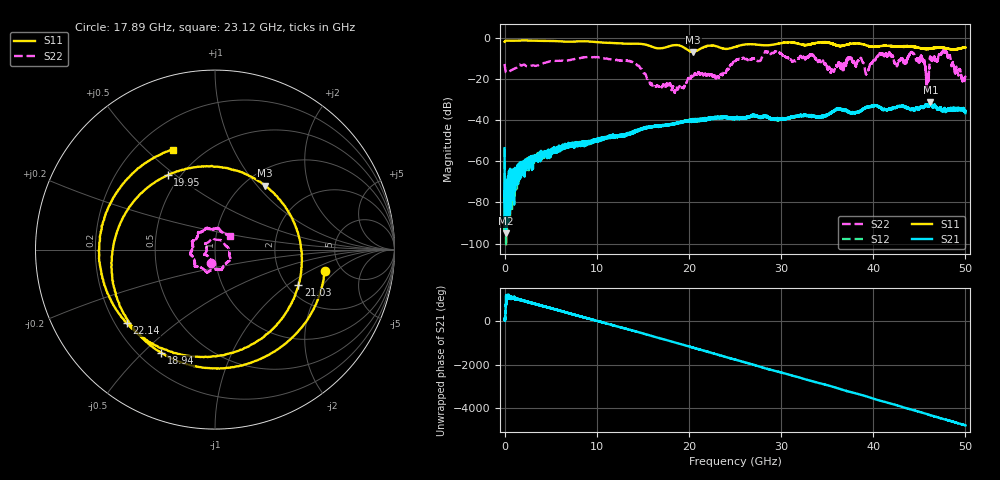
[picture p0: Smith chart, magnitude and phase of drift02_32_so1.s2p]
!Created with skrf (http://scikit-rf.org).
# Hz S RI R 50.0
!freq ReS11 ImS11 ReS21 ImS21 ReS12 ImS12 ReS22 ImS22
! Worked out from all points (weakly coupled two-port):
!   10001 points, 300 kHz to 50 GHz, reference 50 ohm
!   highest |S21| = -31.35 dB at 46.2 GHz (marker M1); lowest = -95.0 dB at 165.3 MHz (marker M2)
!   lowest |S11| = -6.9 dB at 20.45 GHz (marker M3), VSWR 2.64, Z = 61.2 + j54.7 ohm
!   |S11| at or under -10 dB: nowhere
!   |S22| runs from -26.8 to -6.2 dB; largest |S21 - S12| = 0.0034
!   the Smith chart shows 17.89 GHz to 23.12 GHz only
!   S11 on the Smith chart (normalised r, x): 17.89 GHz: 3.70, -1.45; 18.94 GHz: 0.29, -0.57; 19.95 GHz: 0.43, +0.47; 21.03 GHz: 2.28, -1.22; 22.14 GHz: 0.25, -0.34; 23.12 GHz: 0.35, +0.61
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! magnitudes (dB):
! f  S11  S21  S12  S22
! 300 kHz  -2.0  -53.6  -53.7  -12.7
! 165.3 MHz  -1.5  -95.0  -79.8  -16.9
! 3.25 GHz  -1.5  -59.3  -59.3  -13.6
! 8.335 GHz  -1.7  -51.1  -52.0  -9.7
! 13.7 GHz  -2.9  -46.4  -46.6  -11.6
! 16.67 GHz  -5.2  -42.9  -42.9  -23.6
! 17.89 GHz  -4.1  -42.1  -42.5  -22.3
! 18.94 GHz  -3.8  -41.3  -41.3  -23.7
! 19.95 GHz  -6.2  -40.3  -40.4  -19.7
! 20.45 GHz  -6.9  -40.7  -40.4  -19.2
! 21.03 GHz  -5.9  -39.9  -39.6  -16.9
! 22.14 GHz  -3.9  -39.5  -39.3  -17.8
! 23.12 GHz  -4.4  -38.8  -39.1  -18.8
! 25 GHz  -4.5  -39.0  -39.0  -11.5
! 33.34 GHz  -3.0  -37.8  -37.7  -8.5
! 39.32 GHz  -3.8  -33.4  -33.8  -17.1
! 41.67 GHz  -4.0  -34.7  -34.9  -7.8
! 44.26 GHz  -4.3  -34.3  -34.5  -7.3
! 45.86 GHz  -5.4  -33.0  -33.0  -19.0
! 46.2 GHz  -5.2  -31.4  -31.7  -9.1
! 47.76 GHz  -5.0  -34.5  -34.5  -6.9
! 50 GHz  -4.8  -36.6  -35.5  -19.1
